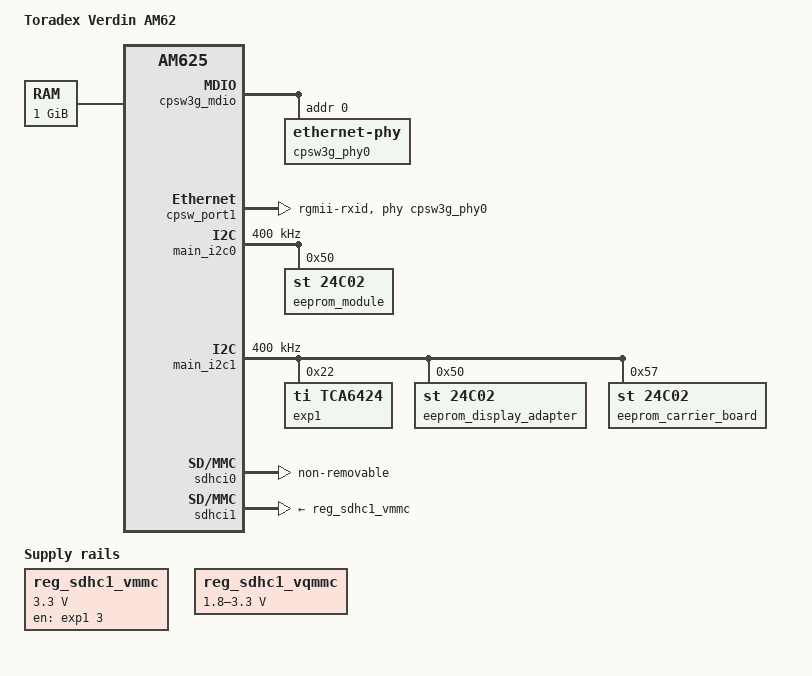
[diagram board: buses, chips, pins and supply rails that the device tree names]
// SPDX-License-Identifier: GPL-2.0-or-later OR MIT
/*
 * Copyright 2023 Toradex
 */

/dts-v1/;

/* remove once our HW arrives */
#define SKEVM

#include <dt-bindings/gpio/gpio.h>
#include <dt-bindings/net/ti-dp83867.h>

#include "k3-am625.dtsi"

/ {
	compatible = "toradex,verdin-am62", "ti,am625";
	model = "Toradex Verdin AM62";

	aliases {
		ethernet0 = &cpsw_port1;
		i2c0 = &main_i2c0;
		i2c1 = &main_i2c1;
		mmc0 = &sdhci0;
		mmc1 = &sdhci1;
		serial2 = &main_uart0;
	};

	chosen {
		bootargs = "console=ttyS2,115200n8 earlycon=ns16550a,mmio32,0x02800000";
		stdout-path = "serial2:115200n8";
	};

	memory@80000000 {
		device_type = "memory";
		reg = <0x00000000 0x80000000 0x00000000 0x40000000>; /* 1G RAM */
	};

	/* Verdin SD_1 Power Supply */
	reg_sdhc1_vmmc: regulator-sdhci1 {
		compatible = "regulator-fixed";
#ifdef SKEVM
		enable-active-high;
		gpio = <&exp1 3 GPIO_ACTIVE_HIGH>;
#else
		pinctrl-names = "default";
		pinctrl-0 = <&pinctrl_sd1_pwr_en>;
		enable-active-high;
		/* Verdin SD_1_PWR_EN (SODIMM 76) */
		gpio = <&main_gpio0 29 GPIO_ACTIVE_HIGH>;
#endif
		off-on-delay-us = <100000>;
		regulator-max-microvolt = <3300000>;
		regulator-min-microvolt = <3300000>;
		regulator-name = "+V3.3_SD";
		startup-delay-us = <2000>;
	};

	reg_sdhc1_vqmmc: regulator-sdhci1-vqmmc {
		compatible = "regulator-gpio";
		pinctrl-names = "default";
		pinctrl-0 = <&pinctrl_vsel_sd>;
		/* PMIC_VSEL_SD */
#ifdef SKEVM
		gpios = <&main_gpio0 31 GPIO_ACTIVE_HIGH>;
#else
		gpios = <&main_gpio0 21 GPIO_ACTIVE_HIGH>;
#endif
		regulator-name = "LDO1-VSEL-SD (PMIC)";
		regulator-min-microvolt = <1800000>;
		regulator-max-microvolt = <3300000>;
		regulator-boot-on;
		states = <1800000 0x0>,
			 <3300000 0x1>;
//		vin-supply = <&reg_sd_3v3_1v8>;
	};

	reserved-memory {
		#address-cells = <2>;
		#size-cells = <2>;
		ranges;

		rtos_ipc_memory_region: ipc-memories@9c800000 {
			compatible = "shared-dma-pool";
			reg = <0x00 0x9c800000 0x00 0x00300000>;
			no-map;
		};

		mcu_m4fss_dma_memory_region: m4f-dma-memory@9cb00000 {
			compatible = "shared-dma-pool";
			reg = <0x00 0x9cb00000 0x00 0x100000>;
			no-map;
		};

		mcu_m4fss_memory_region: m4f-memory@9cc00000 {
			compatible = "shared-dma-pool";
			reg = <0x00 0x9cc00000 0x00 0xe00000>;
			no-map;
		};

		wkup_r5fss0_core0_dma_memory_region: r5f-dma-memory@9da00000 {
			compatible = "shared-dma-pool";
			reg = <0x00 0x9da00000 0x00 0x00100000>;
			no-map;
		};

		wkup_r5fss0_core0_memory_region: r5f-memory@9db00000 {
			compatible = "shared-dma-pool";
			reg = <0x00 0x9db00000 0x00 0x00c00000>;
			no-map;
		};

		lpm_ctx_ddr: lpm-memory@9e700000 {
			reg = <0x00 0x9e700000 0x00 0x80000>;
			alignment = <0x1000>;
		};

		secure_tfa_ddr: tfa@9e780000 {
			reg = <0x00 0x9e780000 0x00 0x80000>;
			alignment = <0x1000>;
			no-map;
		};

		secure_ddr: optee@9e800000 {
			reg = <0x00 0x9e800000 0x00 0x01800000>; /* for OP-TEE */
			alignment = <0x1000>;
			no-map;
		};
	};
};

&cpsw3g {
	pinctrl-names = "default";
	pinctrl-0 = <&pinctrl_mdio	// TBD: move pinctrl to &cpsw3g_mdio ?
		     &pinctrl_rgmii1>;	// TODO: move pinctrl to &cpsw_port1 ?
};

/* MDIO, shared between Verdin ETH_1 (On-module PHY) and Verdin ETH_2_RGMII */
&cpsw3g_mdio {
	cpsw3g_phy0: ethernet-phy@0 {
		reg = <0>;
#ifndef SKEVM
		assigned-clocks = <&k3_clks 157 20>;
		assigned-clock-parents = <&k3_clks 157 22>;
		assigned-clock-rates = <25000000>;
		interrupt-parent = <&main_gpio0>;
		interrupts = <25 IRQ_TYPE_EDGE_FALLING>;
		pinctrl-names = "default";
		pinctrl-0 = <&pinctrl_eth_clock &pinctrl_eth_int &pinctrl_eth_reset>;
		reset-gpios = <&main_gpio0 17 GPIO_ACTIVE_LOW>;
		reset-assert-us = <10>;
		reset-deassert-us = <1000>;
#endif
		ti,fifo-depth = <DP83867_PHYCR_FIFO_DEPTH_4_B_NIB>;
		ti,min-output-impedance;
		ti,rx-internal-delay = <DP83867_RGMIIDCTL_2_00_NS>;
	};
};

/* Verdin ETH_1 (On-module PHY) */
&cpsw_port1 {
	phy-handle = <&cpsw3g_phy0>;
	phy-mode = "rgmii-rxid";
};

/* On-module I2C - PMIC_I2C */
&main_i2c0 {
	pinctrl-names = "default";
	pinctrl-0 = <&pinctrl_i2c0>;
	clock-frequency = <400000>;
	status = "okay";

	eeprom_module: eeprom@50 {
		compatible = "st,24c02";
		reg = <0x50>;
		pagesize = <16>;
	};
};

/* Verdin I2C_1 */
&main_i2c1 {
	pinctrl-names = "default";
	pinctrl-0 = <&pinctrl_i2c1>;
#ifdef SKEVM
	clock-frequency = <400000>;

	exp1: gpio@22 {
		compatible = "ti,tca6424";
		reg = <0x22>;
		gpio-controller;
		#gpio-cells = <2>;
		gpio-line-names = "GPIO_CPSW2_RST", "GPIO_CPSW1_RST",
				   "PRU_DETECT", "MMC1_SD_EN",
				   "VPP_LDO_EN", "EXP_PS_3V3_En",
				   "EXP_PS_5V0_En", "EXP_HAT_DETECT",
				   "GPIO_AUD_RSTn", "GPIO_eMMC_RSTn",
				   "UART1_FET_BUF_EN", "WL_LT_EN",
				   "GPIO_HDMI_RSTn", "CSI_GPIO1",
				   "CSI_GPIO2", "PRU_3V3_EN",
				   "HDMI_INTn", "TEST_GPIO2",
				   "MCASP1_FET_EN", "MCASP1_BUF_BT_EN",
				   "MCASP1_FET_SEL", "UART1_FET_SEL",
				   "TSINT#", "IO_EXP_TEST_LED";
	};
#endif

	/* EEPROM on display adapter (MIPI DSI Display Adapter) */
	eeprom_display_adapter: eeprom@50 {
		compatible = "st,24c02", "atmel,24c02", "i2c-eeprom";
		reg = <0x50>;
		pagesize = <16>;
	};

	/* EEPROM on carrier board */
	eeprom_carrier_board: eeprom@57 {
		compatible = "st,24c02", "atmel,24c02", "i2c-eeprom";
		reg = <0x57>;
		pagesize = <16>;
	};
};

&main_pmx0 {
	/* PMIC_ETH_RESET# */
	pinctrl_eth_reset: main-gpio0-17-pins-default {
		pinctrl-single,pins = <
			AM62X_IOPAD(0x0044, PIN_INPUT, 7) /* (N24) GPMC0_AD2.GPIO0_17 */
		>    ;
	};

	/* PMIC_VSEL_SD */
	pinctrl_vsel_sd: main-gpio0-21-pins-default {
		pinctrl-single,pins = <
#ifndef SKEVM
			AM62X_IOPAD(0x0054, PIN_INPUT, 7) /* (P21) GPMC0_AD6.GPIO0_21 */
#else
			AM62X_IOPAD(0x07c, PIN_OUTPUT, 7) /* (P25) GPMC0_CLK.GPIO0_31 */
#endif
		>;
	};

	/* PMIC_ETH_INT# */
	pinctrl_eth_int: main-gpio0-25-pins-default {
		pinctrl-single,pins = <
			AM62X_IOPAD(0x0064, PIN_INPUT_PULLUP, 7) /* (T25) GPMC0_AD10.GPIO0_25 */
		>;
	};

	/* Verdin SD_1_PWR_EN */
	pinctrl_sd1_pwr_en: main-gpio0-29-pins-default {
		pinctrl-single,pins = <
			AM62X_IOPAD(0x0074, PIN_INPUT, 7) /* (U25) GPMC0_AD14.GPIO0_29 */ /* SODIMM 76 */
		>;
	};

	/* Verdin CTRL_SLEEP_MOCI# */
	pinctrl_ctrl_sleep_moci: main-gpio0-31-pins-default {
		pinctrl-single,pins = <
			AM62X_IOPAD(0x007c, PIN_INPUT, 7) /* (P25) GPMC0_CLK.GPIO0_31 */ /* SODIMM 256 */
		>;
	};

	/* On-module I2C - PMIC_I2C */
	pinctrl_i2c0: main-i2c0-pins-default {
		pinctrl-single,pins = <
			AM62X_IOPAD(0x01e0, PIN_INPUT, 0) /* (B16) I2C0_SCL */ /* PMIC_I2C_SCL */
			AM62X_IOPAD(0x01e4, PIN_INPUT, 0) /* (A16) I2C0_SDA */ /* PMIC_I2C_SDA */
		>;
	};

	/* Verdin I2C_1 */
	pinctrl_i2c1: main-i2c1-pins-default {
		pinctrl-single,pins = <
			AM62X_IOPAD(0x01e8, PIN_INPUT_PULLUP, 0) /* (B17) I2C1_SCL */ /* SODIMM 14 */
			AM62X_IOPAD(0x01ec, PIN_INPUT_PULLUP, 0) /* (A17) I2C1_SDA */ /* SODIMM 12 */
		>;
	};

	/* MDIO, shared by Verdin ETH_1 (On-module PHY) and Verdin ETH_2_RGMII */
	pinctrl_mdio: main-mdio1-pins-default {
		pinctrl-single,pins = <
			AM62X_IOPAD(0x160, PIN_OUTPUT, 0) /* (AD24) MDIO0_MDC  */ /* ETH_1_MDC,  SODIMM 193 */
			AM62X_IOPAD(0x15c, PIN_INPUT, 0)  /* (AB22) MDIO0_MDIO */ /* ETH_1_MDIO, SODIMM 191 */
		>;
	};

	/* On-module eMMC */
	pinctrl_sdhci0: main-mmc0-pins-default {
		pinctrl-single,pins = <
			AM62X_IOPAD(0x220, PIN_INPUT, 0) /*  (Y3) MMC0_CMD  */
			AM62X_IOPAD(0x218, PIN_INPUT, 0) /* (AB1) MMC0_CLK  */
			AM62X_IOPAD(0x214, PIN_INPUT, 0) /* (AA2) MMC0_DAT0 */
			AM62X_IOPAD(0x210, PIN_INPUT, 0) /* (AA1) MMC0_DAT1 */
			AM62X_IOPAD(0x20c, PIN_INPUT, 0) /* (AA3) MMC0_DAT2 */
			AM62X_IOPAD(0x208, PIN_INPUT, 0) /*  (Y4) MMC0_DAT3 */
			AM62X_IOPAD(0x204, PIN_INPUT, 0) /* (AB2) MMC0_DAT4 */
			AM62X_IOPAD(0x200, PIN_INPUT, 0) /* (AC1) MMC0_DAT5 */
			AM62X_IOPAD(0x1fc, PIN_INPUT, 0) /* (AD2) MMC0_DAT6 */
			AM62X_IOPAD(0x1f8, PIN_INPUT, 0) /* (AC2) MMC0_DAT7 */
		>;
	};

	/* Verdin SD_1 */
	pinctrl_sdhci1: main-mmc1-pins-default {
		pinctrl-single,pins = <
			AM62X_IOPAD(0x23c, PIN_INPUT, 0) /* (A21) MMC1_CMD  */ /* SODIMM 74 */
			AM62X_IOPAD(0x234, PIN_INPUT, 0) /* (B22) MMC1_CLK  */ /* SODIMM 78 */
			AM62X_IOPAD(0x230, PIN_INPUT, 0) /* (A22) MMC1_DAT0 */ /* SODIMM 80 */
			AM62X_IOPAD(0x22c, PIN_INPUT, 0) /* (B21) MMC1_DAT1 */ /* SODIMM 82 */
			AM62X_IOPAD(0x228, PIN_INPUT, 0) /* (C21) MMC1_DAT2 */ /* SODIMM 70 */
			AM62X_IOPAD(0x224, PIN_INPUT, 0) /* (D22) MMC1_DAT3 */ /* SODIMM 72 */
			AM62X_IOPAD(0x240, PIN_INPUT, 0) /* (D17) MMC1_SDCD */ /* SODIMM 84 */
		>;
	};

	/* Verdin ETH_1 RGMII (On-module PHY) */
	pinctrl_rgmii1: main-rgmii1-pins-default {
		pinctrl-single,pins = <
			AM62X_IOPAD(0x14c, PIN_INPUT,  0) /* (AB17) RGMII1_RD0    */
			AM62X_IOPAD(0x150, PIN_INPUT,  0) /* (AC17) RGMII1_RD1    */
			AM62X_IOPAD(0x154, PIN_INPUT,  0) /* (AB16) RGMII1_RD2    */
			AM62X_IOPAD(0x158, PIN_INPUT,  0) /* (AA15) RGMII1_RD3    */
			AM62X_IOPAD(0x148, PIN_INPUT,  0) /* (AD17) RGMII1_RXC    */
			AM62X_IOPAD(0x144, PIN_INPUT,  0) /* (AE17) RGMII1_RX_CTL */
			AM62X_IOPAD(0x134, PIN_OUTPUT, 0) /* (AE20) RGMII1_TD0    */
			AM62X_IOPAD(0x138, PIN_OUTPUT, 0) /* (AD20) RGMII1_TD1    */
			AM62X_IOPAD(0x13c, PIN_OUTPUT, 0) /* (AE18) RGMII1_TD2    */
			AM62X_IOPAD(0x140, PIN_OUTPUT, 0) /* (AD18) RGMII1_TD3    */
			AM62X_IOPAD(0x130, PIN_OUTPUT, 0) /* (AE19) RGMII1_TXC    */
			AM62X_IOPAD(0x12c, PIN_OUTPUT, 0) /* (AD19) RGMII1_TX_CTL */
		>;
	};

	/* ETH_25MHz_CLK */
	pinctrl_eth_clock: main-system-clkout0-pins-default {
		pinctrl-single,pins = <
			AM62X_IOPAD(0x01f0, PIN_OUTPUT_PULLUP, 5) /* (A18) EXT_REFCLK1.CLKOUT0 */
		>;
	};

	/* Verdin UART_3, used as the Linux console */
	pinctrl_uart0: main-uart0-pins-default {
		pinctrl-single,pins = <
			AM62X_IOPAD(0x1c8, PIN_INPUT,  0) /* (D14) UART0_RXD */ /* SODIMM 147 */
			AM62X_IOPAD(0x1cc, PIN_OUTPUT, 0) /* (E14) UART0_TXD */ /* SODIMM 149 */
		>;
	};
};

/* Verdin UART_3, used as the Linux console */
&main_uart0 {
	pinctrl-names = "default";
	pinctrl-0 = <&pinctrl_uart0>;
	status = "disabled";
};

/* On-module eMMC */
&sdhci0 {
	pinctrl-names = "default";
	pinctrl-0 = <&pinctrl_sdhci0>;
	non-removable;
	ti,driver-strength-ohm = <50>;
	status = "okay";
};

/* Verdin SD_1 */
&sdhci1 {
	pinctrl-names = "default";
	pinctrl-0 = <&pinctrl_sdhci1>;
	disable-wp;
	ti,driver-strength-ohm = <50>;
	vmmc-supply = <&reg_sdhc1_vmmc>;
	vqmmc-supply = <&reg_sdhc1_vqmmc>;
	status = "okay";
};

/* Verdin USB_1 */
&usbss0 {
	ti,vbus-divider;
};
